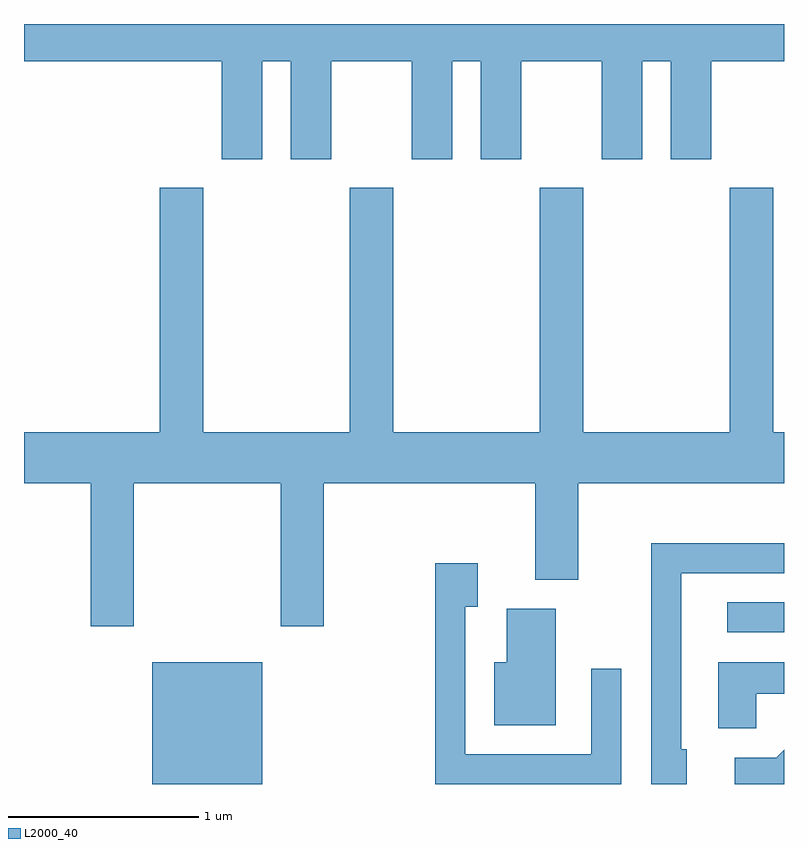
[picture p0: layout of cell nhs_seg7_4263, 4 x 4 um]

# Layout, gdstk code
import gdstk
lib = gdstk.Library(unit=1e-6, precision=1e-09)
def R(c, l, rs):  # rectangles x0, y0, x1, y1
    for r in rs: c.add(gdstk.rectangle(r[:2], r[2:], *l))
def P(c, l, *ps):  # polygons
    for p in ps: c.add(gdstk.Polygon(p, *l))
L2000_40 = (2000, 40)

nhs_seg7_4263 = lib.new_cell('nhs_seg7_4263')
R(nhs_seg7_4263, L2000_40, [(316.286,1748.252,316.864,1748.894), (319.313,1749.051,319.611,1749.209)])
P(nhs_seg7_4263, L2000_40, [(315.611,1752.056),(316.651,1752.056),(316.651,1751.541),(316.864,1751.541),(316.864,1752.056),(317.016,1752.056),(317.016,1751.541),(317.229,1751.541),(317.229,1752.056),(317.651,1752.056),(317.651,1751.541),(317.864,1751.541),(317.864,1752.056),(318.016,1752.056),(318.016,1751.541),(318.229,1751.541),(318.229,1752.056),(318.651,1752.056),(318.651,1751.541),(318.864,1751.541),(318.864,1752.056),(319.016,1752.056),(319.016,1751.541),(319.229,1751.541),(319.229,1752.056),(319.611,1752.056),(319.611,1752.252),(315.611,1752.252)],
  [(316.189,1749.836),(316.961,1749.836),(316.961,1749.081),(317.189,1749.081),(317.189,1749.836),(318.301,1749.836),(318.301,1749.326),(318.529,1749.326),(318.529,1749.836),(319.611,1749.836),(319.611,1750.104),(319.554,1750.104),(319.554,1751.389),(319.326,1751.389),(319.326,1750.104),(318.554,1750.104),(318.554,1751.389),(318.326,1751.389),(318.326,1750.104),(317.554,1750.104),(317.554,1751.389),(317.326,1751.389),(317.326,1750.104),(316.554,1750.104),(316.554,1751.389),(316.326,1751.389),(316.326,1750.104),(315.611,1750.104),(315.611,1749.836),(315.961,1749.836),(315.961,1749.081),(316.189,1749.081)],
  [(319.099,1748.434),(319.069,1748.434),(319.069,1749.361),(319.611,1749.361),(319.611,1749.519),(318.911,1749.519),(318.911,1748.252),(319.099,1748.252)],
  [(318.754,1748.858),(318.596,1748.858),(318.596,1748.409),(317.934,1748.409),(317.934,1749.186),(317.999,1749.186),(317.999,1749.414),(317.776,1749.414),(317.776,1748.252),(318.754,1748.252)],
  [(318.409,1749.174),(318.151,1749.174),(318.151,1748.894),(318.086,1748.894),(318.086,1748.561),(318.409,1748.561)],
  [(319.464,1748.726),(319.611,1748.726),(319.611,1748.894),(319.266,1748.894),(319.266,1748.546),(319.464,1748.546)],
  [(319.611,1748.431),(319.569,1748.389),(319.353,1748.389),(319.353,1748.252),(319.611,1748.252)])

lib.write_gds('nhs_seg7_4263.gds')
